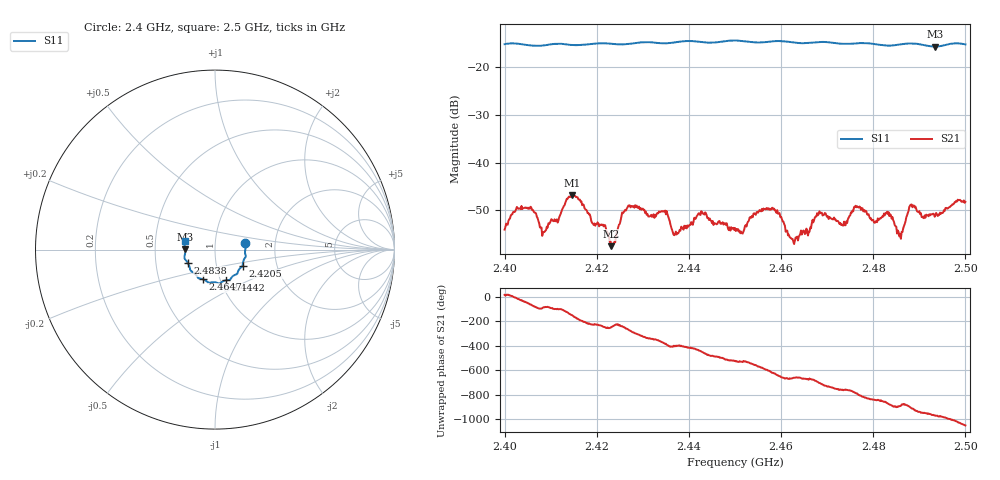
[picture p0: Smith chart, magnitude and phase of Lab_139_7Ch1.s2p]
# Hz S RI R 50
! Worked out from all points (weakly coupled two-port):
!   601 points, 2.4 GHz to 2.5 GHz, reference 50 ohm
!   highest |S21| = -46.87 dB at 2.4147 GHz (marker M1); lowest = -57.5 dB at 2.4232 GHz (marker M2)
!   lowest |S11| = -15.7 dB at 2.4935 GHz (marker M3), VSWR 1.39, Z = 35.9 + j0.109 ohm
!   |S11| at or under -10 dB: start of sweep to end of sweep
!   S12 and S22 are empty: the file has one direction only
!   S11 on the Smith chart (normalised r, x): 2.4 GHz: 1.40, +0.11; 2.4205 GHz: 1.34, -0.25; 2.4442 GHz: 1.06, -0.37; 2.4647 GHz: 0.83, -0.29; 2.4838 GHz: 0.73, -0.11; 2.5 GHz: 0.71, +0.07
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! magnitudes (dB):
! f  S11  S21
! 2.4 GHz  -15.2  -54.0
! 2.4053 GHz  -15.4  -49.4
! 2.4087 GHz  -15.4  -54.5
! 2.4147 GHz  -15.4  -46.9
! 2.4167 GHz  -15.3  -48.1
! 2.4205 GHz  -15.0  -53.3
! 2.4232 GHz  -15.1  -57.5
! 2.427 GHz  -15.1  -49.0
! 2.4333 GHz  -14.9  -50.6
! 2.4372 GHz  -14.8  -54.5
! 2.4442 GHz  -14.9  -51.5
! 2.45 GHz  -14.4  -53.7
! 2.4578 GHz  -14.6  -49.8
! 2.4625 GHz  -14.8  -56.0
! 2.4647 GHz  -15.0  -54.5
! 2.4667 GHz  -14.9  -52.7
! 2.4833 GHz  -15.5  -50.4
! 2.4838 GHz  -15.5  -51.0
! 2.4857 GHz  -15.2  -55.5
! 2.4883 GHz  -15.0  -48.8
! 2.4935 GHz  -15.7  -50.9
! 2.5 GHz  -15.2  -48.2
